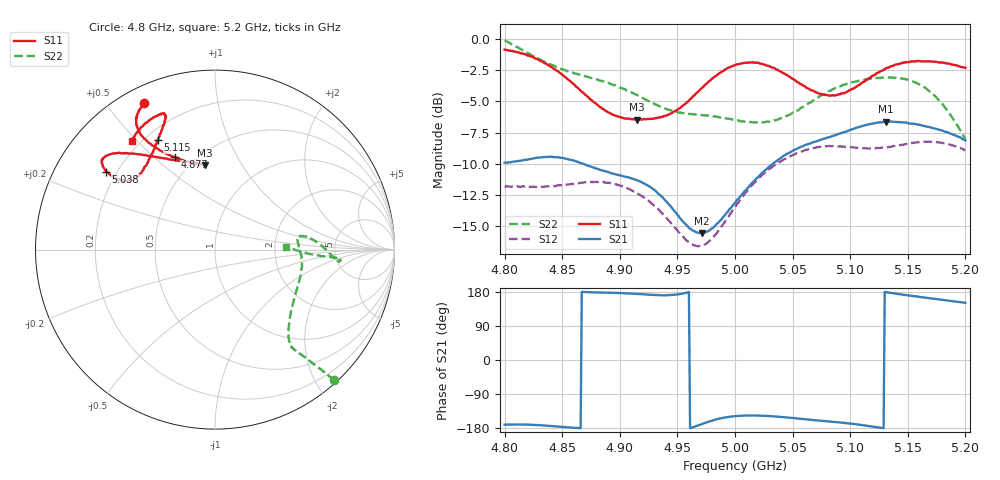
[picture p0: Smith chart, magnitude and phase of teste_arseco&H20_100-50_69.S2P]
! Network Analyzer HP8722D
! Hewlett-Packard
! Data name: Linha & Wilkinson
! Saver's name: Rodrigo Anjos
! Comments: Teste da utilização de aquisição
! continua pelo VNA HP8722D
! Time and date: 6/5/2025 13:08
!  Frequency  S11  S21  S12  S22
# HZ  S  MA R 50
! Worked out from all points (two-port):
!   401 points, 4.8 GHz to 5.2 GHz, reference 50 ohm
!   highest |S21| = -6.62 dB at 5.131 GHz (marker M1); lowest = -15.5 dB at 4.971 GHz (marker M2)
!   |S21| within 3 dB of the highest: 4.822 GHz to 4.854 GHz (32 MHz wide, 0.661 % of centre); 5.038 GHz to end of sweep
!   lowest |S11| = -6.5 dB at 4.915 GHz (marker M3), VSWR 2.80, Z = 29.1 + j35.3 ohm
!   |S11| at or under -10 dB: nowhere
!   |S22| runs from -8.0 to -0.1 dB; largest |S21 - S12| = 0.83
!   S11 on the Smith chart (normalised r, x): 4.8 GHz: 0.07, +0.62; 4.877 GHz: 0.39, +0.59; 5.038 GHz: 0.16, +0.31; 5.115 GHz: 0.25, +0.58; 5.2 GHz: 0.17, +0.48
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4.8e9  0.9051 115.9  0.32 -170.5  0.257 -86.0  0.9846 -47.6
4.819e9  0.8645 120.2  0.3286 -170.5  0.2554 -81.9  0.8814 -48.8
4.835e9  0.7975 122.6  0.3366 -173.0  0.2566 -76.5  0.8071 -49.7
4.867e9  0.6136 117.9  0.3175 179.7  0.2657 -67.4  0.7144 -51.5
4.877e9  0.56 113.3  0.3057 178.6  0.2677 -66.2  0.6942 -51.8
4.9e9  0.4868 101.4  0.2847 176.8  0.2591 -66.5  0.6375 -50.1
4.915e9  0.4742 96.6  0.2714 174.4  0.2415 -68.2  0.596 -46.4
4.934e9  0.4851 99.3  0.2389 171.1  0.2071 -69.4  0.5387 -37.5
4.959e9  0.5602 116.4  0.1781 178.6  0.155 -58.8  0.501 -21.0
4.971e9  0.6345 124.6  0.1671 -169.6  0.1489 -45.2  0.4951 -13.9
4.982e9  0.7041 130.5  0.1773 -158.1  0.1626 -32.9  0.4902 -8.1
5e9  0.7854 137.2  0.2209 -148.3  0.2129 -21.4  0.4735 -0.4
5.019e9  0.8033 141.7  0.2773 -146.7  0.272 -18.3  0.4625 5.9
5.038e9  0.7457 144.4  0.3297 -149.7  0.3207 -18.4  0.4775 8.8
5.067e9  0.6216 142.1  0.3847 -158.1  0.3652 -20.5  0.5622 4.6
5.088e9  0.595 133.1  0.4138 -164.0  0.3718 -23.7  0.6366 -1.7
5.115e9  0.6892 117.6  0.4538 -173.7  0.3641 -26.7  0.69 -5.3
5.131e9  0.7623 111.7  0.4669 179.1  0.3676 -28.3  0.6986 -5.0
5.134e9  0.7693 111.2  0.4655 177.8  0.3689 -28.7  0.6998 -4.8
5.16e9  0.814 112.1  0.4527 166.5  0.3859 -34.8  0.6575 -3.8
5.179e9  0.8046 118.6  0.4312 159.0  0.3837 -40.7  0.5554 -3.0
5.2e9  0.7645 127.4  0.392 150.8  0.3581 -46.3  0.397 2.4
